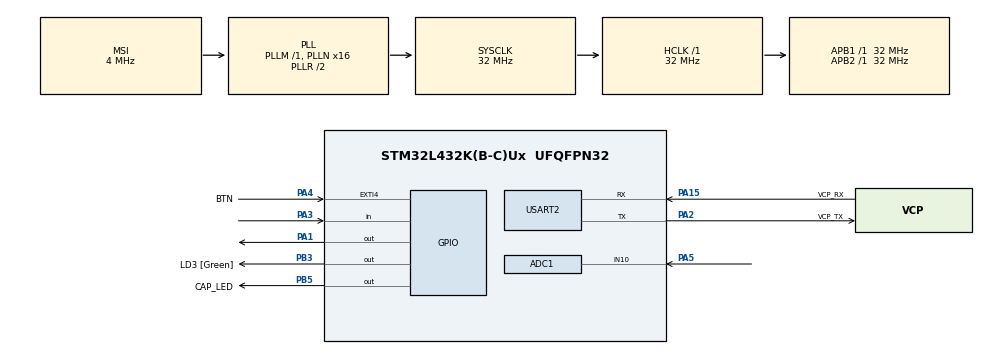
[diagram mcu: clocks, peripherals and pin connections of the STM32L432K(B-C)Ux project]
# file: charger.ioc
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ADC1.Channel-0\#ChannelRegularConversion=ADC_CHANNEL_10
ADC1.NbrOfConversionFlag=1
ADC1.OffsetNumber-0\#ChannelRegularConversion=ADC_OFFSET_NONE
ADC1.Rank-0\#ChannelRegularConversion=1
ADC1.SamplingTime-0\#ChannelRegularConversion=ADC_SAMPLETIME_2CYCLES_5
ADC1.master=1
Mcu.Family=STM32L4
Mcu.Name=STM32L432K(B-C)Ux
Mcu.Package=UFQFPN32
NVIC.EXTI4_IRQn=true\:0\:0\:false\:false\:true\:true\:true
NVIC.PriorityGroup=NVIC_PRIORITYGROUP_4
NVIC.TIM1_BRK_TIM15_IRQn=true\:0\:0\:false\:false\:true\:true\:true
NVIC.TIM1_CC_IRQn=true\:0\:0\:false\:false\:true\:true\:true
NVIC.TIM1_TRG_COM_IRQn=true\:0\:0\:false\:false\:true\:true\:true
NVIC.TIM1_UP_TIM16_IRQn=true\:0\:0\:false\:false\:true\:true\:true
PA0.GPIO_Label=MCO [High speed clock in]
PA0.Mode=HSE-External-Clock-Source-for-LittleOrca
PA0.Signal=RCC_CK_IN
PA1.Signal=GPIO_Output
PA13\ (JTMS-SWDIO).GPIO_Label=SWDIO
PA13\ (JTMS-SWDIO).Mode=Serial_Wire
PA13\ (JTMS-SWDIO).Signal=SYS_JTMS-SWDIO
PA14\ (JTCK-SWCLK).GPIO_Label=SWCLK
PA14\ (JTCK-SWCLK).Mode=Serial_Wire
PA14\ (JTCK-SWCLK).Signal=SYS_JTCK-SWCLK
PA15\ (JTDI).GPIO_Label=VCP_RX
PA15\ (JTDI).Mode=Asynchronous
PA15\ (JTDI).Signal=USART2_RX
PA2.GPIO_Label=VCP_TX
PA2.Mode=Asynchronous
PA2.Signal=USART2_TX
PA3.Signal=GPIO_Input
PA4.GPIO_Label=BTN
PA4.GPIO_ModeDefaultEXTI=GPIO_MODE_IT_RISING
PA4.GPIO_PuPd=GPIO_NOPULL
PA4.Signal=GPXTI4
PA5.Signal=ADCx_IN10
PB3\ (JTDO-TRACESWO).GPIO_Label=LD3 [Green]
PB3\ (JTDO-TRACESWO).Signal=GPIO_Output
PB5.GPIO_Label=CAP_LED
PB5.Signal=GPIO_Output
PC14-OSC32_IN\ (PC14).Mode=LSE-External-Oscillator
PC14-OSC32_IN\ (PC14).Signal=RCC_OSC32_IN
PC15-OSC32_OUT\ (PC15).Mode=LSE-External-Oscillator
PC15-OSC32_OUT\ (PC15).Signal=RCC_OSC32_OUT
ProjectManager.HeapSize=0x200
ProjectManager.StackSize=0x400
ProjectManager.TargetToolchain=Makefile
RCC.ADCFreq_Value=32000000
RCC.AHBFreq_Value=32000000
RCC.APB1Freq_Value=32000000
RCC.APB1TimFreq_Value=32000000
RCC.APB2Freq_Value=32000000
RCC.APB2TimFreq_Value=32000000
RCC.CortexFreq_Value=32000000
RCC.HCLKFreq_Value=32000000
RCC.HSE_VALUE=8000000
RCC.HSI16_VALUE=16000000
RCC.HSI48_VALUE=48000000
RCC.HSI_VALUE=16000000
RCC.MSI_VALUE=4000000
RCC.PLLMUL=RCC_PLLMUL_4
RCC.PLLN=16
RCC.PLLSAI1N=16
RCC.SYSCLKFreq_VALUE=32000000
RCC.SYSCLKSource=RCC_SYSCLKSOURCE_PLLCLK
RCC.USBFreq_Value=32000000
RCC.VCOOutputFreq_Value=64000000
SH.ADCx_IN10.0=ADC1_IN10,IN10-Single-Ended
TIM1.CounterMode=TIM_COUNTERMODE_DOWN
TIM1.Period=50
TIM1.Prescaler=32000
USART2.VirtualMode-Asynchronous=VM_ASYNC
VP_TIM1_VS_ClockSourceINT.Mode=Internal
board=NUCLEO-L432KC

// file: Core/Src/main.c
/* USER CODE BEGIN Header */
/**
  ******************************************************************************
  * @file           : main.c
  * @brief          : Main program body
  ******************************************************************************
  * @attention
  *
  * <h2><center>&copy; Copyright (c) 2021 STMicroelectronics.
  * All rights reserved.</center></h2>
  *
  * This software component is licensed by ST under BSD 3-Clause license,
  * the "License"; You may not use this file except in compliance with the
  * License. You may obtain a copy of the License at:
  *                        opensource.org/licenses/BSD-3-Clause
  *
  ******************************************************************************
  */
/* USER CODE END Header */
#include "main.h"

ADC_HandleTypeDef hadc1;

TIM_HandleTypeDef htim1;

UART_HandleTypeDef huart2;

/* USER CODE BEGIN PV */
//volatile
volatile uint8_t mode = 0;
volatile uint8_t change_mode = 0;
/* USER CODE END PV */

void SystemClock_Config(void);
static void MX_GPIO_Init(void);
static void MX_USART2_UART_Init(void);
static void MX_ADC1_Init(void);
static void MX_TIM1_Init(void);

/* USER CODE BEGIN 0 */

void HAL_GPIO_EXTI_Callback(uint16_t GPIO_Pin) {

	// check if the button is pressed
	if(GPIO_Pin == BTN_Pin) {
		HAL_TIM_Base_Start_IT(&htim1);

	}

	// if not do nothing
	else{
		__NOP();
	}
}

void HAL_TIM_PeriodElapsedCallback(TIM_HandleTypeDef *htim) {

	HAL_TIM_Base_Stop_IT(&htim1);

	// check if the button is still pressed
	if(HAL_GPIO_ReadPin(GPIOA, GPIO_PIN_4)) {

		// change the mode accordingly
		if(mode == 0) mode = 1;
		else mode = 0;

		// used to indicate that the mode has been changed
		change_mode = 1;

	}
}

void send_time_elapsed(uint32_t time_elapsed) {

	/*
		This function handels sending the time value
	*/

	uint8_t time_as_string[33];
	uint16_t i = 0;

	// turn number to ascii
	// slice the number into its parts
	while(time_elapsed > 0) {
		uint8_t last_digit = time_elapsed % 10;
		time_elapsed = time_elapsed / 10;

		time_as_string[i] = '0' + last_digit;
		i++;
	}

	int j = 0;
	int k = i - 1;

	// reverse the array so that the numbers are in the correct order
	while(j < k) {
		uint8_t temp = time_as_string[j];
		time_as_string[j] = time_as_string[k];
		time_as_string[k] = temp;

		j++;
		k--;
	}

	// send the data via UART

	HAL_UART_Transmit(&huart2, time_as_string, i, 10);
}

void send_data(uint32_t data) {

	/*
		This function handels sending the data value
	*/

	uint8_t data_as_string[33];
	data_as_string[0] = '0';
	uint16_t i = 0;

	//turn the data to ascii
	// slice the number into its parts
	while(data > 0) {
		uint8_t last_digit = data % 10;
		data = data / 10;

		data_as_string[i] = '0' + last_digit;
		i++;
	}

	int j = 0;
	int k = i - 1;

	// reverse the array so that the numbers are in the correct order
	while(j < k) {
		uint8_t temp = data_as_string[j];
		data_as_string[j] = data_as_string[k];
		data_as_string[k] = temp;

		j++;
		k--;
	}

	// send the data via UART
	if(i == 0) i = 1;
	HAL_UART_Transmit(&huart2, data_as_string, i, 10);

}

void send_all_data(uint32_t elapsed_time, uint32_t data, uint8_t funt) {
	send_time_elapsed(elapsed_time);
	HAL_UART_Transmit(&huart2, (uint8_t*)"\t", 1, 10);

	send_data(data);
	HAL_UART_Transmit(&huart2, (uint8_t*)"\r\n", 2, 10);

}

void unload_capacitor() {

	/*
		This function handels getting the conversion value
		and sending it to the PC while unloading the capacitor
	*/

	uint32_t data = 6; // data read from pin
	uint32_t start_time = HAL_GetTick();
	uint32_t elapsed = 0;
	uint32_t prev_time = 0;

	// set charging Pin to LOW
	HAL_GPIO_WritePin(GPIOA, GPIO_PIN_1, GPIO_PIN_RESET);
	// turn of led
	HAL_GPIO_WritePin(GPIOB, CAP_LED_Pin, GPIO_PIN_RESET);

	while(data > 5 && change_mode == 0) {

		elapsed = HAL_GetTick() - start_time; // keep track of the time

		// let LED blink to indicate unloading
		if(prev_time + 200 < elapsed) {
			HAL_GPIO_TogglePin(GPIOB, CAP_LED_Pin);
			prev_time = elapsed;
		}

		// start the conversion
		HAL_ADCEx_Calibration_Start(&hadc1, ADC_SINGLE_ENDED);

		HAL_ADC_Start(&hadc1);
		HAL_ADC_PollForConversion(&hadc1, 10);

		data = HAL_ADC_GetValue(&hadc1); // get data

		HAL_ADC_Stop(&hadc1);
		// end the conversion

		send_all_data(elapsed, data, 0); // send the data with UART

		HAL_Delay(1);
	}

	if(change_mode == 1) {
		change_mode = 0;
		HAL_GPIO_WritePin(GPIOB, CAP_LED_Pin, GPIO_PIN_RESET); // make sure that the LED is off when switching modes
	}
}

void load_capacitor() {
	/*
		This function handels getting the conversion value
		and sending it to the PC while loading the capacitor
	*/

	uint32_t data = 0; // data read from pin
	uint32_t start_time = HAL_GetTick();
	uint32_t elapsed = 0;

	// start charging by setting the charging Pin to High
	HAL_GPIO_WritePin(GPIOA, GPIO_PIN_1, GPIO_PIN_SET);

	// wait untill the capacitor is fully charged
	while(data < 4080 && change_mode == 0) {

		elapsed = HAL_GetTick() - start_time;

		HAL_ADCEx_Calibration_Start(&hadc1, ADC_SINGLE_ENDED);

		HAL_ADC_Start(&hadc1);
		HAL_ADC_PollForConversion(&hadc1, 10);

		data = HAL_ADC_GetValue(&hadc1); // get data

		HAL_ADC_Stop(&hadc1);

		send_all_data(elapsed, data, 1); // send the data with UART

		HAL_Delay(1);
	}

	// turn on the LED to indicate that the capacitor is fully charged
	if(data > 4000) HAL_GPIO_WritePin(GPIOB, CAP_LED_Pin, GPIO_PIN_SET);

	if(change_mode == 1) change_mode = 0;
}

void start() {
	if(mode == 0) {
		load_capacitor();
	}
	if(mode == 1) {
		unload_capacitor();
	}
}

/* USER CODE END 0 */

int main(void)
{

  /* MCU Configuration--------------------------------------------------------*/

  /* Reset of all peripherals, Initializes the Flash interface and the Systick. */
  HAL_Init();

  /* Configure the system clock */
  SystemClock_Config();

  /* Initialize all configured peripherals */
  MX_GPIO_Init();
  MX_USART2_UART_Init();
  MX_ADC1_Init();
  MX_TIM1_Init();

  /* Infinite loop */
  while (1)
  {
	  //HAL_Delay(3000);
	  start();
	  HAL_Delay(10);
  }
}

void SystemClock_Config(void)
{
  RCC_OscInitTypeDef RCC_OscInitStruct = {0};
  RCC_ClkInitTypeDef RCC_ClkInitStruct = {0};
  RCC_PeriphCLKInitTypeDef PeriphClkInit = {0};

  /** Configure LSE Drive Capability
  */
  HAL_PWR_EnableBkUpAccess();
  __HAL_RCC_LSEDRIVE_CONFIG(RCC_LSEDRIVE_LOW);
  /** Initializes the RCC Oscillators according to the specified parameters
  * in the RCC_OscInitTypeDef structure.
  */
  RCC_OscInitStruct.OscillatorType = RCC_OSCILLATORTYPE_LSE|RCC_OSCILLATORTYPE_MSI;
  RCC_OscInitStruct.LSEState = RCC_LSE_ON;
  RCC_OscInitStruct.MSIState = RCC_MSI_ON;
  RCC_OscInitStruct.MSICalibrationValue = 0;
  RCC_OscInitStruct.MSIClockRange = RCC_MSIRANGE_6;
  RCC_OscInitStruct.PLL.PLLState = RCC_PLL_ON;
  RCC_OscInitStruct.PLL.PLLSource = RCC_PLLSOURCE_MSI;
  RCC_OscInitStruct.PLL.PLLM = 1;
  RCC_OscInitStruct.PLL.PLLN = 16;
  RCC_OscInitStruct.PLL.PLLP = RCC_PLLP_DIV7;
  RCC_OscInitStruct.PLL.PLLQ = RCC_PLLQ_DIV2;
  RCC_OscInitStruct.PLL.PLLR = RCC_PLLR_DIV2;
  if (HAL_RCC_OscConfig(&RCC_OscInitStruct) != HAL_OK)
  {
    Error_Handler();
  }
  /** Initializes the CPU, AHB and APB buses clocks
  */
  RCC_ClkInitStruct.ClockType = RCC_CLOCKTYPE_HCLK|RCC_CLOCKTYPE_SYSCLK
                              |RCC_CLOCKTYPE_PCLK1|RCC_CLOCKTYPE_PCLK2;
  RCC_ClkInitStruct.SYSCLKSource = RCC_SYSCLKSOURCE_PLLCLK;
  RCC_ClkInitStruct.AHBCLKDivider = RCC_SYSCLK_DIV1;
  RCC_ClkInitStruct.APB1CLKDivider = RCC_HCLK_DIV1;
  RCC_ClkInitStruct.APB2CLKDivider = RCC_HCLK_DIV1;

  if (HAL_RCC_ClockConfig(&RCC_ClkInitStruct, FLASH_LATENCY_1) != HAL_OK)
  {
    Error_Handler();
  }
  PeriphClkInit.PeriphClockSelection = RCC_PERIPHCLK_USART2|RCC_PERIPHCLK_ADC;
  PeriphClkInit.Usart2ClockSelection = RCC_USART2CLKSOURCE_PCLK1;
  PeriphClkInit.AdcClockSelection = RCC_ADCCLKSOURCE_PLLSAI1;
  PeriphClkInit.PLLSAI1.PLLSAI1Source = RCC_PLLSOURCE_MSI;
  PeriphClkInit.PLLSAI1.PLLSAI1M = 1;
  PeriphClkInit.PLLSAI1.PLLSAI1N = 16;
  PeriphClkInit.PLLSAI1.PLLSAI1P = RCC_PLLP_DIV7;
  PeriphClkInit.PLLSAI1.PLLSAI1Q = RCC_PLLQ_DIV2;
  PeriphClkInit.PLLSAI1.PLLSAI1R = RCC_PLLR_DIV2;
  PeriphClkInit.PLLSAI1.PLLSAI1ClockOut = RCC_PLLSAI1_ADC1CLK;
  if (HAL_RCCEx_PeriphCLKConfig(&PeriphClkInit) != HAL_OK)
  {
    Error_Handler();
  }
  /** Configure the main internal regulator output voltage
  */
  if (HAL_PWREx_ControlVoltageScaling(PWR_REGULATOR_VOLTAGE_SCALE1) != HAL_OK)
  {
    Error_Handler();
  }
  /** Enable MSI Auto calibration
  */
  HAL_RCCEx_EnableMSIPLLMode();
}

static void MX_ADC1_Init(void)
{

  ADC_ChannelConfTypeDef sConfig = {0};

  /** Common config
  */
  hadc1.Instance = ADC1;
  hadc1.Init.ClockPrescaler = ADC_CLOCK_ASYNC_DIV1;
  hadc1.Init.Resolution = ADC_RESOLUTION_12B;
  hadc1.Init.DataAlign = ADC_DATAALIGN_RIGHT;
  hadc1.Init.ScanConvMode = ADC_SCAN_DISABLE;
  hadc1.Init.EOCSelection = ADC_EOC_SINGLE_CONV;
  hadc1.Init.LowPowerAutoWait = DISABLE;
  hadc1.Init.ContinuousConvMode = DISABLE;
  hadc1.Init.NbrOfConversion = 1;
  hadc1.Init.DiscontinuousConvMode = DISABLE;
  hadc1.Init.ExternalTrigConv = ADC_SOFTWARE_START;
  hadc1.Init.ExternalTrigConvEdge = ADC_EXTERNALTRIGCONVEDGE_NONE;
  hadc1.Init.DMAContinuousRequests = DISABLE;
  hadc1.Init.Overrun = ADC_OVR_DATA_PRESERVED;
  hadc1.Init.OversamplingMode = DISABLE;
  if (HAL_ADC_Init(&hadc1) != HAL_OK)
  {
    Error_Handler();
  }
  /** Configure Regular Channel
  */
  sConfig.Channel = ADC_CHANNEL_10;
  sConfig.Rank = ADC_REGULAR_RANK_1;
  sConfig.SamplingTime = ADC_SAMPLETIME_2CYCLES_5;
  sConfig.SingleDiff = ADC_SINGLE_ENDED;
  sConfig.OffsetNumber = ADC_OFFSET_NONE;
  sConfig.Offset = 0;
  if (HAL_ADC_ConfigChannel(&hadc1, &sConfig) != HAL_OK)
  {
    Error_Handler();
  }

}

static void MX_TIM1_Init(void)
{

  TIM_ClockConfigTypeDef sClockSourceConfig = {0};
  TIM_MasterConfigTypeDef sMasterConfig = {0};

  htim1.Instance = TIM1;
  htim1.Init.Prescaler = 32000;
  htim1.Init.CounterMode = TIM_COUNTERMODE_DOWN;
  htim1.Init.Period = 50;
  htim1.Init.ClockDivision = TIM_CLOCKDIVISION_DIV1;
  htim1.Init.RepetitionCounter = 0;
  htim1.Init.AutoReloadPreload = TIM_AUTORELOAD_PRELOAD_DISABLE;
  if (HAL_TIM_Base_Init(&htim1) != HAL_OK)
  {
    Error_Handler();
  }
  sClockSourceConfig.ClockSource = TIM_CLOCKSOURCE_INTERNAL;
  if (HAL_TIM_ConfigClockSource(&htim1, &sClockSourceConfig) != HAL_OK)
  {
    Error_Handler();
  }
  sMasterConfig.MasterOutputTrigger = TIM_TRGO_RESET;
  sMasterConfig.MasterOutputTrigger2 = TIM_TRGO2_RESET;
  sMasterConfig.MasterSlaveMode = TIM_MASTERSLAVEMODE_DISABLE;
  if (HAL_TIMEx_MasterConfigSynchronization(&htim1, &sMasterConfig) != HAL_OK)
  {
    Error_Handler();
  }

}

static void MX_USART2_UART_Init(void)
{

  huart2.Instance = USART2;
  huart2.Init.BaudRate = 115200;
  huart2.Init.WordLength = UART_WORDLENGTH_8B;
  huart2.Init.StopBits = UART_STOPBITS_1;
  huart2.Init.Parity = UART_PARITY_NONE;
  huart2.Init.Mode = UART_MODE_TX_RX;
  huart2.Init.HwFlowCtl = UART_HWCONTROL_NONE;
  huart2.Init.OverSampling = UART_OVERSAMPLING_16;
  huart2.Init.OneBitSampling = UART_ONE_BIT_SAMPLE_DISABLE;
  huart2.AdvancedInit.AdvFeatureInit = UART_ADVFEATURE_NO_INIT;
  if (HAL_UART_Init(&huart2) != HAL_OK)
  {
    Error_Handler();
  }

}

static void MX_GPIO_Init(void)
{
  GPIO_InitTypeDef GPIO_InitStruct = {0};

  /* GPIO Ports Clock Enable */
  __HAL_RCC_GPIOC_CLK_ENABLE();
  __HAL_RCC_GPIOA_CLK_ENABLE();
  __HAL_RCC_GPIOB_CLK_ENABLE();

  /*Configure GPIO pin Output Level */
  HAL_GPIO_WritePin(GPIOA, GPIO_PIN_1, GPIO_PIN_RESET);

  /*Configure GPIO pin Output Level */
  HAL_GPIO_WritePin(GPIOB, LD3_Pin|CAP_LED_Pin, GPIO_PIN_RESET);

  /*Configure GPIO pin : PA1 */
  GPIO_InitStruct.Pin = GPIO_PIN_1;
  GPIO_InitStruct.Mode = GPIO_MODE_OUTPUT_PP;
  GPIO_InitStruct.Pull = GPIO_NOPULL;
  GPIO_InitStruct.Speed = GPIO_SPEED_FREQ_LOW;
  HAL_GPIO_Init(GPIOA, &GPIO_InitStruct);

  /*Configure GPIO pin : PA3 */
  GPIO_InitStruct.Pin = GPIO_PIN_3;
  GPIO_InitStruct.Mode = GPIO_MODE_INPUT;
  GPIO_InitStruct.Pull = GPIO_NOPULL;
  HAL_GPIO_Init(GPIOA, &GPIO_InitStruct);

  /*Configure GPIO pin : BTN_Pin */
  GPIO_InitStruct.Pin = BTN_Pin;
  GPIO_InitStruct.Mode = GPIO_MODE_IT_RISING;
  GPIO_InitStruct.Pull = GPIO_NOPULL;
  HAL_GPIO_Init(BTN_GPIO_Port, &GPIO_InitStruct);

  /*Configure GPIO pins : LD3_Pin CAP_LED_Pin */
  GPIO_InitStruct.Pin = LD3_Pin|CAP_LED_Pin;
  GPIO_InitStruct.Mode = GPIO_MODE_OUTPUT_PP;
  GPIO_InitStruct.Pull = GPIO_NOPULL;
  GPIO_InitStruct.Speed = GPIO_SPEED_FREQ_LOW;
  HAL_GPIO_Init(GPIOB, &GPIO_InitStruct);

  /* EXTI interrupt init*/
  HAL_NVIC_SetPriority(EXTI4_IRQn, 0, 0);
  HAL_NVIC_EnableIRQ(EXTI4_IRQn);

}

void Error_Handler(void)
{
}

/************************ (C) COPYRIGHT STMicroelectronics *****END OF FILE****/
